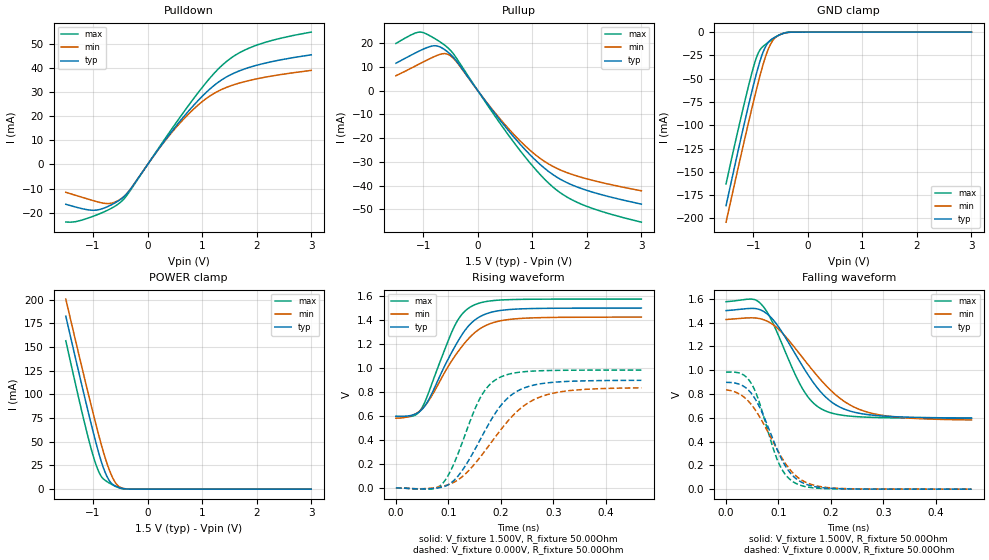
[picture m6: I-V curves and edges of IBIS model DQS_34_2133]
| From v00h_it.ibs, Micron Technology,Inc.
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| MODEL DQS_34_2133 (34 Ohm Data Strobe I/O with no ODT, 2133Mbps)
[Model]   DQS_34_2133
Model_type   I/O
Vinl = 615.000mV
Vinh = 885.000mV
Vmeas = 750.000mV
Vref = 750.000mV
Cref = 0.0pF
Rref = 25.000Ohm
|   typ   min   max
|C_comp   1.100pF   1.025pF   1.175pF
C_comp_pullup   0.5500pF   0.5125pF   0.5875pF
C_comp_pulldown   0.5500pF   0.5125pF   0.5875pF
[Model Spec]
| Input threshold voltage corners
Vinl   0.6150V   0.5775V   0.6525V
Vinh   0.8850V   0.8475V   0.9225V
| Measurement voltage corners
Vmeas   0.7500V   0.7125V   0.7875V
| Timing spec test load voltage corners
Vref   0.7500V   0.7125V   0.7875V
| Dynamic Overshoot Parameters from DDR3 Specification
|D_overshoot_ampl_h   0.40   NA   NA
|D_overshoot_ampl_l   0.40   NA   NA
|D_overshoot_area_h   0.10n   NA   NA
|D_overshoot_area_l   0.10n   NA   NA
[Receiver Thresholds]
|Vth   =  0.750V
|Vth_min  =  0.7350V
|Vth_max  =  0.7650V
|Vinh_ac  =  0.135V
|Vinh_dc  =  0.100V
|Vinl_ac  = -0.135V
|Vinl_dc  = -0.100V
|Tslew_ac =  5.000ns |Not specified, so set to high value
|Threshold_sensitivity = 0.50
|Reference_supply Pullup_ref
|NOTE: If using the IBISCHK 4.2.1 or older parser, Differential receiver
|threshold parameters must be commented out because the parser generates
|errors for multiple differential models.
Vcross_low   = 0.615V
Vcross_high  = 0.885V
Vdiff_ac   = 270mV
Vdiff_dc   = 200mV
Tdiffslew_ac = 10.000ns |Not specified, so set to high value
[Voltage Range]   1.5000V   1.4250V   1.5750V
[Pullup Reference]   1.5000V   1.4250V   1.5750V
| Junction Temperature (Ambient temp is 35C typ, 95C min, -40C max)
[Temperature Range]   50.0   110.0   -40.0
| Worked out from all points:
|   slope of the pulldown table from 0 to 0.225 V, typ, clamps not added: 31.5 ohm
|   slope of the pullup table from 0 to 0.225 V, typ, clamps not added: 32.2 ohm
|   GND clamp passes 1 mA (typ) near -0.42 V on its own axis
|   POWER clamp passes 1 mA (typ) near -0.48 V on its own axis
|   falling waveform, V_fixture 1.500V, R_fixture 50.00Ohm: 20-80 % time 82.3ps typ, 103ps min, 62.5ps max; typ from 1.5 V to 0.597 V
|   rising waveform, V_fixture 1.500V, R_fixture 50.00Ohm: 20-80 % time 65.1ps typ, 75.1ps min, 53.3ps max; typ from 0.597 V to 1.5 V
|   rising waveform, V_fixture 0.000V, R_fixture 50.00Ohm: 20-80 % time 74.3ps typ, 95.4ps min, 55.4ps max; typ from 0 V to 0.897 V
|   falling waveform, V_fixture 0.000V, R_fixture 50.00Ohm: 20-80 % time 54.6ps typ, 66ps min, 44ps max; typ from 0.897 V to 0 V
[Pulldown]
|   Voltage   I(typ)   I(min)   I(max)
-1.5V     -16.49mA   -11.52mA   -23.81mA
-1.32V    -17.62mA   -12.76mA   -23.67mA
-940mV    -18.91mA   -15.34mA   -20.95mA
-690mV    -16.99mA   -16.13mA   -18.44mA
-510mV    -14.66mA   -14.54mA   -15.88mA
-335mV    -10.85mA   -10.79mA   -11.32mA
265mV     8.372mA    8.208mA    8.884mA
645mV     19.34mA    18.45mA    21.17mA
1.075V    29.89mA    27.32mA    33.99mA
1.475V    36.63mA    32.19mA    43.18mA
2.025V    41.26mA    35.59mA    49.63mA
3V        45.43mA    38.98mA    54.85mA
[GND Clamp]
|   Voltage   I(typ)   I(min)   I(max)
-1.5V     -186.2mA   -204mA     -162.9mA
-1.33V    -140.9mA   -159.2mA   -118mA
-1.165V   -97.95mA   -116.5mA   -76.4mA
-1.025V   -63.32mA   -81.41mA   -43.46mA
-950mV    -46.1mA    -63.34mA   -28.56mA
-875mV    -30.7mA    -46.21mA   -18.9mA
-775mV    -15.59mA   -26.18mA   -13.16mA
-675mV    -8.152mA   -12.06mA   -8.781mA
-580mV    -4.745mA   -5.106mA   -5.032mA
-455mV    -1.57mA    -1.548mA   -1.307mA
-335mV    -184.8uA   -234.8uA   -67.28uA
3V        0A         0A         0A
[Pullup]
|   Voltage   I(typ)   I(min)   I(max)
-1.5V     11.53mA    6.272mA    19.87mA
-1.04V    17.03mA    11.6mA     24.66mA
-765mV    18.89mA    14.64mA    21.62mA
-540mV    16.1mA     15.23mA    17.87mA
-395mV    12.63mA    12.28mA    13.85mA
195mV     -6.065mA   -5.842mA   -6.681mA
640mV     -18.96mA   -17.94mA   -21.14mA
1.015V    -28.33mA   -26.22mA   -32.01mA
1.36V     -35.1mA    -31.71mA   -40.25mA
1.63V     -38.73mA   -34.51mA   -44.77mA
1.95V     -41.66mA   -36.87mA   -48.33mA
3V        -47.84mA   -42.22mA   -55.45mA
[POWER Clamp]
|   Voltage   I(typ)   I(min)   I(max)
-1.5V     182.5mA    200.6mA    156.6mA
-1.13V    91.24mA    110.7mA    63.67mA
-1.025V   66.5mA     86.09mA    40.54mA
-940mV    47.43mA    66.71mA    24.81mA
-845mV    28.37mA    46.17mA    13.09mA
-735mV    12.3mA     25.52mA    7.634mA
-680mV    7.269mA    17.16mA    5.727mA
-625mV    4.412mA    10.26mA    3.983mA
-535mV    1.985mA    3.233mA    1.641mA
-450mV    674.6uA    919uA      371.5uA
-275mV    15.24uA    34.57uA    597.6nA
3V        0A         0A         0A
[Ramp]
R_load = 50.00Ohm
|   typ   min   max
dV/dt_r   538.345mV/74.289ps  500.793mV/95.326ps  589.671mV/55.403ps
dV/dt_f   541.518mV/82.253ps  506.303mV/102.864ps 587.971mV/62.464ps
[Falling Waveform]
V_fixture = 1.500V
V_fixture_min = 1.425V
V_fixture_max = 1.575V
R_fixture = 50.00Ohm
|   Time   V(typ)   V(min)   V(max)
0s        1.5V       1.425V     1.575V
49ps      1.518V     1.439V     1.597V
68ps      1.501V     1.428V     1.549V
96ps      1.388V     1.36V      1.33V
146ps     1.033V     1.105V     842.5mV
165ps     904.6mV    999.3mV    730.1mV
186ps     791.1mV    891.9mV    664.3mV
222ps     679mV      747.8mV    620.8mV
276ps     623.2mV    639.6mV    603.5mV
468ps     597.5mV    581.2mV    595.1mV
[Rising Waveform]
V_fixture = 1.500V
V_fixture_min = 1.425V
V_fixture_max = 1.575V
R_fixture = 50.00Ohm
|   Time   V(typ)   V(min)   V(max)
0s        597.5mV    581.2mV    595.1mV
32ps      608.1mV    606.5mV    599.3mV
47ps      643.1mV    647.6mV    649.1mV
63ps      739mV      730.9mV    802.6mV
112ps     1.175V     1.097V     1.352V
128ps     1.291V     1.191V     1.458V
148ps     1.392V     1.286V     1.523V
180ps     1.463V     1.37V      1.56V
224ps     1.49V      1.409V     1.571V
468ps     1.5V       1.425V     1.575V
[Rising Waveform]
V_fixture = 0.000V
V_fixture_min = 0.000V
V_fixture_max = 0.000V
R_fixture = 50.00Ohm
|   Time   V(typ)   V(min)   V(max)
0s        -18.33uV   -16.89uV   -17.06uV
68ps      -5.591mV   -1.709mV   -9.162mV
89ps      7.539mV    13.66mV    37.26mV
121ps     113.1mV    75.19mV    314.4mV
161ps     405.1mV    258.5mV    752.9mV
178ps     540.9mV    356.8mV    857.7mV
198ps     675.9mV    473.6mV    921.4mV
234ps     813.2mV    649.5mV    963.9mV
286ps     874.7mV    774.7mV    978.4mV
468ps     897.2mV    834.6mV    982.8mV
[Falling Waveform]
V_fixture = 0.000V
V_fixture_min = 0.000V
V_fixture_max = 0.000V
R_fixture = 50.00Ohm
|   Time   V(typ)   V(min)   V(max)
0s        897.2mV    834.6mV    982.8mV
29ps      874.8mV    790mV      970mV
47ps      811.1mV    717mV      895.5mV
61ps      715mV      629.4mV    760.9mV
100ps     308.4mV    312.9mV    223.4mV
115ps     181.5mV    204.5mV    112.9mV
135ps     83.26mV    105.3mV    44.67mV
162ps     28.33mV    40.5mV     13.39mV
200ps     6.889mV    10.81mV    3.133mV
468ps     -18.33uV   -16.89uV   -17.06uV
